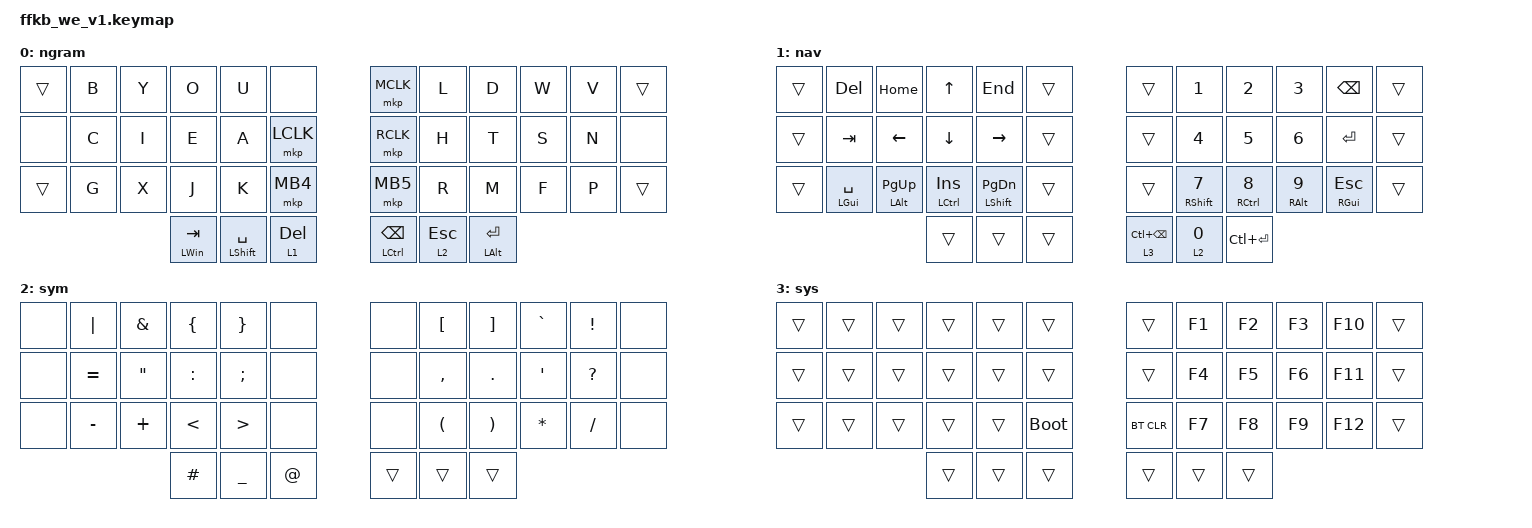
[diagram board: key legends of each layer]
/*
 * Copyright (c) 2020 The ZMK Contributors
 *
 * SPDX-License-Identifier: MIT
 */

#include <behaviors.dtsi>
#include <dt-bindings/zmk/keys.h>
#include <dt-bindings/zmk/bt.h>
#include <dt-bindings/zmk/ext_power.h>
#include <dt-bindings/zmk/outputs.h>
#include <dt-bindings/zmk/mouse.h>
#include <behaviors/mouse_keys.dtsi>

/ {
    behaviors {
        mtr: mod-tap-repeat {
            compatible = "zmk,behavior-hold-tap";
            flavor = "hold-preferred";
            tapping-term-ms = <200>;
            quick-tap-ms = <200>;
            #binding-cells = <2>;
            bindings = <&kp>, <&kp>;
        };

        mtb: mod-tap-balanced {
            compatible = "zmk,behavior-hold-tap";
            flavor = "balanced";
            tapping-term-ms = <400>;
            #binding-cells = <2>;
            bindings = <&kp>, <&kp>;
        };

        ltr: layer-tap-repeat {
            compatible = "zmk,behavior-hold-tap";
            flavor = "hold-preferred";
            tapping-term-ms = <200>;
            quick-tap-ms = <200>;
            #binding-cells = <2>;
            bindings = <&mo>, <&kp>;
        };
    };

    combos {
        compatible = "zmk,combos";

        z {
            bindings = <&kp Z>;
            key-positions = <28 27>;
            layers = <0>;
        };

        q {
            bindings = <&kp Q>;
            key-positions = <31 32>;
            layers = <0>;
        };

        dollar {
            bindings = <&kp DOLLAR>;
            key-positions = <16 15>;
            layers = <2>;
        };

        backslash {
            bindings = <&kp BSLH>;
            key-positions = <2 3>;
            layers = <2>;
        };

        caret {
            bindings = <&kp CARET>;
            key-positions = <27 28>;
            layers = <2>;
        };

        tilde {
            bindings = <&kp TILDE>;
            key-positions = <14 15>;
            layers = <2>;
        };

        percent {
            bindings = <&kp PERCENT>;
            key-positions = <4 3>;
            layers = <2>;
        };
    };

    keymap {
        compatible = "zmk,keymap";

        ngram {
            bindings = <
&trans  &kp B  &kp Y  &kp O             &kp U                 &none            &mkp MCLK                        &kp L         &kp D               &kp W  &kp V  &trans
&none   &kp C  &kp I  &kp E             &kp A                 &mkp LCLK        &mkp RCLK                        &kp H         &kp T               &kp S  &kp N  &none
&trans  &kp G  &kp X  &kp J             &kp K                 &mkp MB4         &mkp MB5                         &kp R         &kp M               &kp F  &kp P  &trans
                      &mt LEFT_WIN TAB  &mt LEFT_SHIFT SPACE  &ltr 1 DELETE    &mtr LEFT_CONTROL BACKSPACE  &lt 2 ESCAPE  &mt LEFT_ALT ENTER
            >;
        };

        nav {
            bindings = <
&trans  &kp DELETE          &kp HOME            &kp UP                &kp END                   &trans    &trans               &kp N1              &kp N2                &kp N3            &kp BACKSPACE         &trans
&trans  &kp TAB             &kp LEFT            &kp DOWN              &kp RIGHT                 &trans    &trans               &kp N4              &kp N5                &kp N6            &kp ENTER             &trans
&trans  &mt LEFT_GUI SPACE  &mt LEFT_ALT PG_UP  &mt LEFT_CONTROL INS  &mt LEFT_SHIFT PAGE_DOWN  &trans    &trans               &mt RIGHT_SHIFT N7  &mt RIGHT_CONTROL N8  &mt RIGHT_ALT N9  &mt RIGHT_GUI ESCAPE  &trans
                                                &trans                &trans                    &trans    &lt 3 LC(BACKSPACE)  &lt 2 N0            &kp LC(ENTER)
            >;
        };

        sym {
            bindings = <
&none  &kp PIPE   &kp AMPERSAND      &kp LEFT_BRACE  &kp RIGHT_BRACE  &none     &none   &kp LBKT   &kp RBKT  &kp GRAVE  &kp EXCL   &none
&none  &kp EQUAL  &kp DOUBLE_QUOTES  &kp COLON       &kp SEMI         &none     &none   &kp COMMA  &kp DOT   &kp SQT    &kp QMARK  &none
&none  &kp MINUS  &kp PLUS           &kp LT          &kp GT           &none     &none   &kp LPAR   &kp RPAR  &kp ASTRK  &kp SLASH  &none
                                     &kp HASH        &kp UNDER        &kp AT    &trans  &trans     &trans
            >;
        };

        sys {
            bindings = <
&trans  &trans  &trans  &trans  &trans  &trans      &trans     &kp F1  &kp F2  &kp F3  &kp F10  &trans
&trans  &trans  &trans  &trans  &trans  &trans      &trans     &kp F4  &kp F5  &kp F6  &kp F11  &trans
&trans  &trans  &trans  &trans  &trans  &bootloader &bt BT_CLR &kp F7  &kp F8  &kp F9  &kp F12  &trans
                        &trans  &trans  &trans      &trans     &trans  &trans
            >;
        };
    };
};

&pro_micro_spi {
    glidepoint@0 {
        /delete-property/ no-taps;
        /delete-property/ sleep;
        sensitivity = "4x";
    };
};
